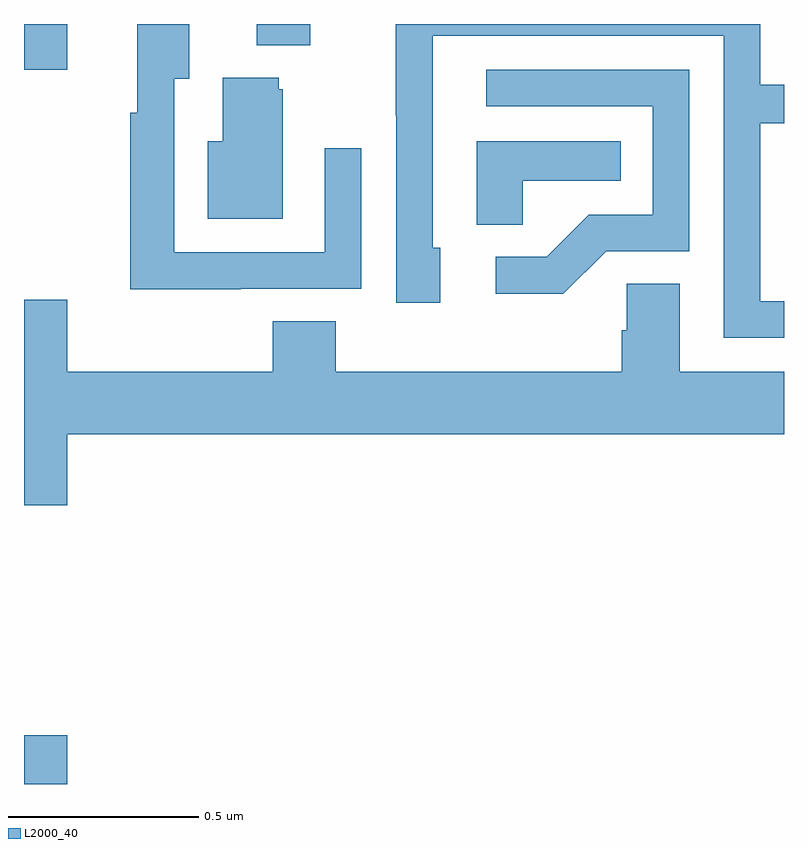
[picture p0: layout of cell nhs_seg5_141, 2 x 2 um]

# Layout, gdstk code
import gdstk
lib = gdstk.Library(unit=1e-6, precision=1e-09)
def R(c, l, rs):  # rectangles x0, y0, x1, y1
    for r in rs: c.add(gdstk.rectangle(r[:2], r[2:], *l))
def P(c, l, *ps):  # polygons
    for p in ps: c.add(gdstk.Polygon(p, *l))
L2000_40 = (2000, 40)

nhs_seg5_141 = lib.new_cell('nhs_seg5_141')
R(nhs_seg5_141, L2000_40, [(112,895.799,112.114,895.927), (112,897.678,112.114,897.799), (112.613,897.743,112.753,897.799)])
P(nhs_seg5_141, L2000_40, [(114,897.069),(113.937,897.069),(113.937,897.538),(114,897.538),(114,897.639),(113.937,897.639),(113.937,897.799),(112.978,897.799),(112.978,897.559),(112.98,897.559),(112.98,897.066),(113.095,897.066),(113.095,897.21),(113.076,897.21),(113.076,897.768),(113.841,897.768),(113.841,896.973),(114,896.973)],
  [(112.571,897.102),(112.887,897.102),(112.887,897.472),(112.791,897.472),(112.791,897.198),(112.395,897.198),(112.395,897.655),(112.435,897.655),(112.435,897.799),(112.298,897.799),(112.298,897.566),(112.279,897.566),(112.279,897.101),(112.571,897.101)],
  [(113.532,897.201),(113.751,897.201),(113.751,897.678),(113.217,897.678),(113.217,897.582),(113.655,897.582),(113.655,897.297),(113.486,897.297),(113.375,897.186),(113.241,897.186),(113.241,897.089),(113.419,897.089)],
  [(112.681,897.627),(112.67,897.627),(112.67,897.658),(112.523,897.658),(112.523,897.49),(112.484,897.49),(112.484,897.287),(112.681,897.287)],
  [(113.313,897.386),(113.57,897.386),(113.57,897.49),(113.192,897.49),(113.192,897.271),(113.313,897.271)],
  [(112.114,896.72),(114,896.72),(114,896.884),(113.725,896.884),(113.725,897.116),(113.586,897.116),(113.586,896.993),(113.573,896.993),(113.573,896.884),(112.82,896.884),(112.82,897.017),(112.655,897.017),(112.655,896.884),(112.114,896.884),(112.114,897.073),(112,897.073),(112,896.532),(112.114,896.532)])

lib.write_gds('nhs_seg5_141.gds')
